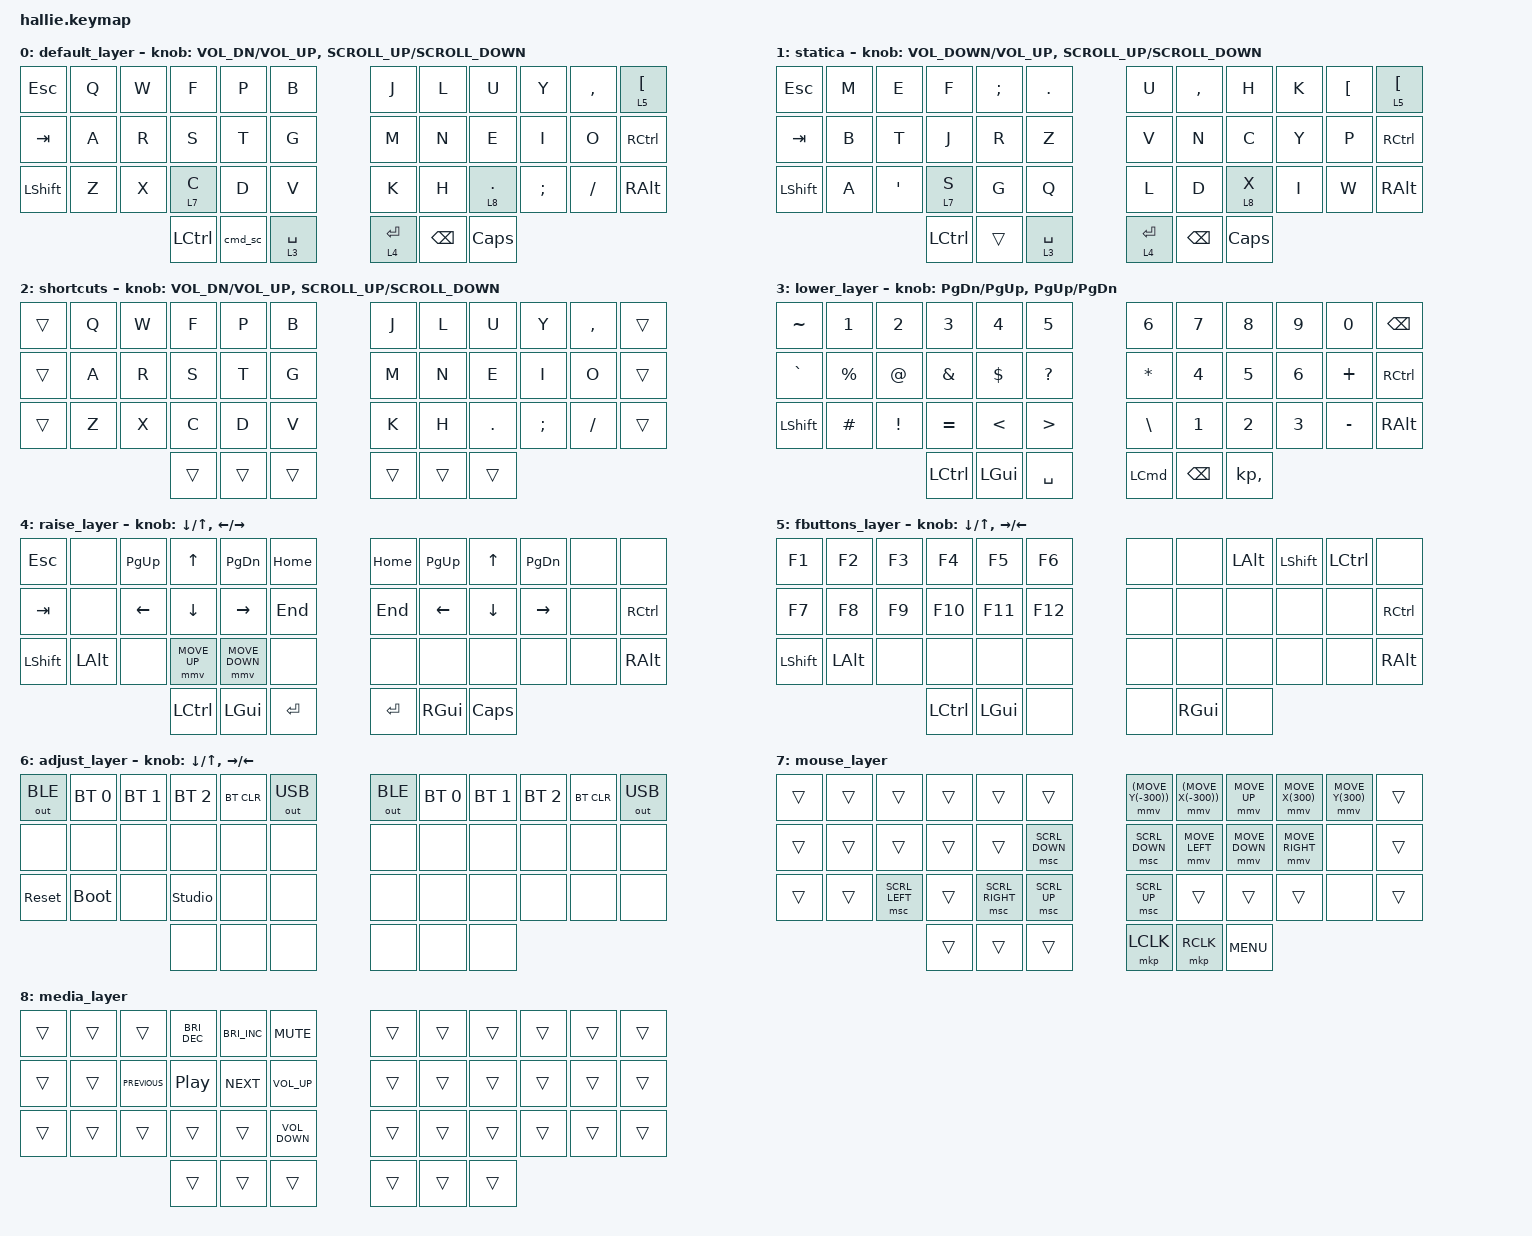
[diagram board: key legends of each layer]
#undef ZMK_BEHAVIORS_KEEP_ALL

#define ZMK_BEHAVIORS_KEEP_IND
#define ZMK_BEHAVIORS_KEEP_BT
#define ZMK_BEHAVIORS_KEEP_GRESC
#define ZMK_BEHAVIORS_KEEP_SYS_RESET
#define ZMK_BEHAVIORS_KEEP_BOOTLOADER
#define ZMK_BEHAVIORS_KEEP_CAPS_WORD
#define ZMK_BEHAVIORS_KEEP_KEY_REPEAT
#define ZMK_BEHAVIORS_KEEP_KT
#define ZMK_BEHAVIORS_KEEP_LT
#define ZMK_BEHAVIORS_KEEP_MT
#define ZMK_BEHAVIORS_KEEP_SK
#define ZMK_BEHAVIORS_KEEP_STICKY_LAYER
#define ZMK_BEHAVIORS_KEEP_TO
#define ZMK_BEHAVIORS_KEEP_TOG
#define ZMK_BEHAVIORS_KEEP_TRANS

#include <behaviors/indicators.dtsi>
#include <dt-bindings/zmk/indicators.h>
#include <behaviors.dtsi>
#include <dt-bindings/zmk/bt.h>
#include <dt-bindings/zmk/keys.h>
#include <dt-bindings/zmk/outputs.h>
#include <dt-bindings/zmk/pointing.h>

#define DEF 0
#define LWR 1
#define RSE 2
#define FNB 3
#define ADJ 4

&lt { quick_tap_ms = <200>; };

&mt { quick_tap_ms = <200>; };

/ {
    behaviors {
        lt_thumb: lt_thumb {
            compatible = "zmk,behavior-hold-tap";
            #binding-cells = <2>;
            flavor = "tap-preferred";
            tapping-term-ms = <200>;
            quick-tap-ms = <200>;
            require-prior-idle-ms = <200>;
            bindings = <&mo>, <&kp>;
        };
    };

    combos {
        compatible = "zmk,combos";

        kp_left_bracket {
            bindings = <&kp LEFT_BRACKET>;
            key-positions = <28 29>;
        };

        kp_right_bracket {
            bindings = <&kp RIGHT_BRACKET>;
            key-positions = <30 31>;
        };

        kp_left_brace {
            bindings = <&kp LEFT_BRACE>;
            key-positions = <16 17>;
        };

        kp_right_brace {
            bindings = <&kp RIGHT_BRACE>;
            key-positions = <18 19>;
        };

        kp_left_parenthesis {
            bindings = <&kp LEFT_PARENTHESIS>;
            key-positions = <4 5>;
        };

        kp_right_parenthesis {
            bindings = <&kp RIGHT_PARENTHESIS>;
            key-positions = <6 7>;
        };

        kp_double_qoute {
            bindings = <&kp DOUBLE_QUOTES>;
            key-positions = <15 16>;
        };

        kp_single_qoute {
            bindings = <&kp SINGLE_QUOTE>;
            key-positions = <19 20>;
        };

        kp_minus {
            bindings = <&kp MINUS>;
            key-positions = <3 4>;
        };

        kp_underscore {
            bindings = <&kp UNDERSCORE>;
            key-positions = <7 8>;
        };

        kp_plus {
            bindings = <&kp PLUS>;
            key-positions = <2 3>;
        };

        kp_pipe {
            bindings = <&kp PIPE>;
            key-positions = <8 9>;
        };

        kp_ {
            bindings = <&kp AMPERSAND>;
            key-positions = <20 21>;
        };

        kp_eqal {
            bindings = <&kp EQUAL>;
            key-positions = <14 15>;
        };

        kp_capslook {
            bindings = <&kp CAPSLOCK>;
            key-positions = <38 39>;
        };

        change_lang {
            bindings = <&lang>;
            key-positions = <12 23>;
            timeout-ms = <50>;
        };
    };

    macros {
        lang: lang {
            compatible = "zmk,behavior-macro";
            #binding-cells = <0>;
            bindings = <&macro_tap>, <&kp LC(GRAVE) &tog 1>;

            label = "LANG";
            wait-ms = <40>;
            tap-ms = <40>;
        };

        cmd_sc: cmd_sc {
            compatible = "zmk,behavior-macro";
            #binding-cells = <0>;
            bindings =
                <&macro_press>,
                <&mo 2 &kp LGUI>,
                <&macro_pause_for_release>,
                <&macro_release>,
                <&kp LGUI &mo 2>;

            label = "CMD_SC";
        };
    };

    keymap {
        compatible = "zmk,keymap";

        default_layer {
            bindings = <
&kp ESC    &kp Q  &kp W  &kp F             &kp P    &kp B                &kp J              &kp L          &kp U            &kp Y          &kp COMMA  &lt 5 LEFT_BRACKET
&kp TAB    &kp A  &kp R  &kp S             &kp T    &kp G                &kp M              &kp N          &kp E            &kp I          &kp O      &kp RIGHT_CONTROL
&kp LSHFT  &kp Z  &kp X  &lt_thumb 7 C     &kp D    &kp V                &kp K              &kp H          &lt_thumb 8 DOT  &kp SEMICOLON  &kp SLASH  &kp RIGHT_ALT
                         &kp LEFT_CONTROL  &cmd_sc  &lt_thumb 3 SPACE    &lt_thumb 4 ENTER  &kp BACKSPACE  &kp CAPSLOCK
            >;

            sensor-bindings =
                <&inc_dec_kp C_VOL_DN C_VOL_UP>,
                <&inc_dec_kp K_SCROLL_UP K_SCROLL_DOWN>;
        };

        statica {
            bindings = <
&kp ESC         &kp M  &kp E    &kp F             &kp SEMI  &kp DOT              &kp U              &kp COMMA  &kp H          &kp K  &kp LBKT  &lt 5 LEFT_BRACKET
&kp TAB         &kp B  &kp T    &kp J             &kp R     &kp Z                &kp V              &kp N      &kp C          &kp Y  &kp P     &kp RIGHT_CONTROL
&kp LEFT_SHIFT  &kp A  &kp SQT  &lt_thumb 7 S     &kp G     &kp Q                &kp L              &kp D      &lt_thumb 8 X  &kp I  &kp W     &kp RIGHT_ALT
                                &kp LEFT_CONTROL  &trans    &lt_thumb 3 SPACE    &lt_thumb 4 ENTER  &kp BSPC   &kp CAPS
            >;

            sensor-bindings =
                <&inc_dec_kp C_VOLUME_DOWN C_VOL_UP>,
                <&inc_dec_kp K_SCROLL_UP K_SCROLL_DOWN>;
        };

        shortcuts {
            bindings = <
&trans  &kp Q  &kp W  &kp F   &kp P   &kp B     &kp J   &kp L   &kp U    &kp Y          &kp COMMA  &trans
&trans  &kp A  &kp R  &kp S   &kp T   &kp G     &kp M   &kp N   &kp E    &kp I          &kp O      &trans
&trans  &kp Z  &kp X  &kp C   &kp D   &kp V     &kp K   &kp H   &kp DOT  &kp SEMICOLON  &kp SLASH  &trans
                      &trans  &trans  &trans    &trans  &trans  &trans
            >;

            sensor-bindings =
                <&inc_dec_kp C_VOL_DN C_VOL_UP>,
                <&inc_dec_kp K_SCROLL_UP K_SCROLL_DOWN>;
        };

        lower_layer {
            bindings = <
&kp TILDE  &kp N1       &kp N2    &kp N3            &kp N4         &kp N5              &kp N6            &kp N7         &kp N8        &kp N9        &kp N0     &kp BACKSPACE
&kp GRAVE  &kp PERCENT  &kp AT    &kp AMPS          &kp DLLR       &kp QUESTION        &kp ASTERISK      &kp NUMBER_4   &kp N5        &kp NUMBER_6  &kp PLUS   &kp RIGHT_CONTROL
&kp LSHFT  &kp HASH     &kp EXCL  &kp EQUAL         &kp LESS_THAN  &kp GREATER_THAN    &kp BACKSLASH     &kp NUMBER_1   &kp NUMBER_2  &kp NUMBER_3  &kp MINUS  &kp RIGHT_ALT
                                  &kp LEFT_CONTROL  &kp LEFT_GUI   &kp SPACE           &kp LEFT_COMMAND  &kp BACKSPACE  &kp KP_COMMA
            >;

            sensor-bindings =
                <&inc_dec_kp PG_DN PG_UP>,
                <&inc_dec_kp PAGE_UP PAGE_DOWN>;
        };

        raise_layer {
            bindings = <
&kp ESCAPE      &none         &kp PG_UP  &kp UP            &kp PG_DN       &kp HOME     &kp HOME   &kp PG_UP      &kp UP    &kp PG_DN  &none  &none
&kp TAB         &none         &kp LEFT   &kp DOWN          &kp RIGHT       &kp END      &kp END    &kp LEFT       &kp DOWN  &kp RIGHT  &none  &kp RIGHT_CONTROL
&kp LEFT_SHIFT  &kp LEFT_ALT  &none      &mmv MOVE_UP      &mmv MOVE_DOWN  &none        &none      &none          &none     &none      &none  &kp RIGHT_ALT
                                         &kp LEFT_CONTROL  &kp LEFT_GUI    &kp ENTER    &kp ENTER  &kp RIGHT_GUI  &kp CAPS
            >;

            sensor-bindings =
                <&inc_dec_kp DOWN_ARROW UP_ARROW>,
                <&inc_dec_kp LEFT_ARROW RIGHT_ARROW>;
        };

        fbuttons_layer {
            bindings = <
&kp F1      &kp F2        &kp F3  &kp F4            &kp F5        &kp F6     &none  &none          &kp LEFT_ALT  &kp LEFT_SHIFT  &kp LCTRL  &none
&kp F7      &kp F8        &kp F9  &kp F10           &kp F11       &kp F12    &none  &none          &none         &none           &none      &kp RIGHT_CONTROL
&kp LSHIFT  &kp LEFT_ALT  &none   &none             &none         &none      &none  &none          &none         &none           &none      &kp RIGHT_ALT
                                  &kp LEFT_CONTROL  &kp LEFT_GUI  &none      &none  &kp RIGHT_GUI  &none
            >;

            sensor-bindings = <&inc_dec_kp DOWN_ARROW UP_ARROW &inc_dec_kp RIGHT_ARROW LEFT_ARROW>;
        };

        adjust_layer {
            bindings = <
&out OUT_BLE  &bt BT_SEL 0  &bt BT_SEL 1  &bt BT_SEL 2    &bt BT_CLR  &out OUT_USB    &out OUT_BLE  &bt BT_SEL 0  &bt BT_SEL 1  &bt BT_SEL 2  &bt BT_CLR  &out OUT_USB
&none         &none         &none         &none           &none       &none           &none         &none         &none         &none         &none       &none
&sys_reset    &bootloader   &none         &studio_unlock  &none       &none           &none         &none         &none         &none         &none       &none
                                          &none           &none       &none           &none         &none         &none
            >;

            sensor-bindings =
                <&inc_dec_kp DOWN_ARROW UP_ARROW>,
                <&inc_dec_kp RIGHT_ARROW LEFT_ARROW>;
        };

        mouse_layer {
            bindings = <
&trans  &trans  &trans          &trans  &trans           &trans            &mmv (MOVE_Y(-300))  &mmv (MOVE_X(-300))  &mmv MOVE_UP    &mmv MOVE_X(300)  &mmv MOVE_Y(300)  &trans
&trans  &trans  &trans          &trans  &trans           &msc SCRL_DOWN    &msc SCRL_DOWN       &mmv MOVE_LEFT       &mmv MOVE_DOWN  &mmv MOVE_RIGHT   &none             &trans
&trans  &trans  &msc SCRL_LEFT  &trans  &msc SCRL_RIGHT  &msc SCRL_UP      &msc SCRL_UP         &trans               &trans          &trans            &none             &trans
                                &trans  &trans           &trans            &mkp LCLK            &mkp RCLK            &kp C_MENU
            >;
        };

        media_layer {
            bindings = <
&trans  &trans  &trans          &kp C_BRIGHTNESS_DEC  &kp C_BRIGHTNESS_INC  &kp K_MUTE           &trans  &trans  &trans  &trans  &trans  &trans
&trans  &trans  &kp C_PREVIOUS  &kp C_PLAY_PAUSE      &kp C_NEXT            &kp C_VOLUME_UP      &trans  &trans  &trans  &trans  &trans  &trans
&trans  &trans  &trans          &trans                &trans                &kp C_VOLUME_DOWN    &trans  &trans  &trans  &trans  &trans  &trans
                                &trans                &trans                &trans               &trans  &trans  &trans
            >;
        };
    };
};
